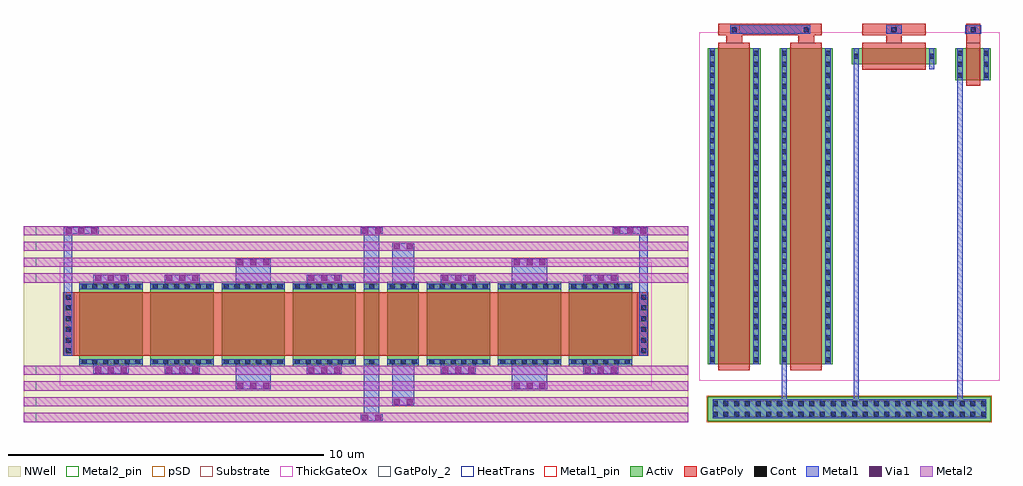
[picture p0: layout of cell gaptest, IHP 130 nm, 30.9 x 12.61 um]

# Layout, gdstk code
from math import pi, radians
import gdstk
lib = gdstk.Library(unit=1e-6, precision=1e-09)
def R(c, l, rs):  # rectangles x0, y0, x1, y1
    for r in rs: c.add(gdstk.rectangle(r[:2], r[2:], *l))
def A(c, l, x, y, w, h, nx, ny, dx, dy):  # array of equal rectangles
    R(c, l, [(x+i*dx, y+j*dy, x+i*dx+w, y+j*dy+h) for i in range(nx) for j in range(ny)])
Activ = (1, 0)
GatPoly = (5, 0)
GatPoly_2 = (5, 2)
Cont = (6, 0)
Metal1 = (8, 0)
Metal1_pin = (8, 2)
Metal2 = (10, 0)
Metal2_pin = (10, 2)
pSD = (14, 0)
Via1 = (19, 0)
NWell = (31, 0)
Substrate = (40, 0)
ThickGateOx = (44, 0)
HeatTrans = (51, 0)

pmoshv_10 = lib.new_cell('pmosHV$10')
R(pmoshv_10, Activ, [(0,0,0.3,0.3), (0,0,2.68,2), (2.38,0,2.68,0.3)])
R(pmoshv_10, GatPoly, [(0.34,-0.18,2.34,2.18)])
R(pmoshv_10, GatPoly_2, [(0.34,-0.18,2.34,2.18)])
A(pmoshv_10, Cont, 0.07, 0.07, 0.16, 0.16, 1, 6, 0, 0.34)
A(pmoshv_10, Cont, 2.45, 0.07, 0.16, 0.16, 1, 6, 0, 0.34)
R(pmoshv_10, Metal1, [(0.07,0,0.23,2), (2.45,0,2.61,2)])
R(pmoshv_10, Metal1_pin, [(0.07,0,0.23,2), (2.45,0,2.61,2)])
R(pmoshv_10, pSD, [(-0.18,-0.4,2.86,2.4)])
R(pmoshv_10, NWell, [(-0.62,-0.62,3.3,2.62)])
R(pmoshv_10, ThickGateOx, [(-0.62,-0.62,3.3,2.62)])
R(pmoshv_10, HeatTrans, [(0.34,-0.18,2.34,2.18)])
pmoshv_10.add(gdstk.Label('pmosHV', (1.34,1), layer=63, texttype=0))
pmoshv_10.add(gdstk.Label('pmos', (1.34,1), layer=51, texttype=0))

pmoshv_11 = lib.new_cell('pmosHV$11')
R(pmoshv_11, Activ, [(0,0,0.3,0.3), (0,0,2.68,0.5), (2.38,0,2.68,0.3)])
R(pmoshv_11, GatPoly, [(0.34,-0.18,2.34,0.68)])
R(pmoshv_11, GatPoly_2, [(0.34,-0.18,2.34,0.68)])
R(pmoshv_11, Cont, [(0.07,0.17,0.23,0.33), (2.45,0.17,2.61,0.33)])
R(pmoshv_11, Metal1, [(0.07,0,0.23,0.5), (2.45,0,2.61,0.5)])
R(pmoshv_11, Metal1_pin, [(0.07,0,0.23,0.5), (2.45,0,2.61,0.5)])
R(pmoshv_11, pSD, [(-0.18,-0.4,2.86,0.9)])
R(pmoshv_11, NWell, [(-0.62,-0.62,3.3,1.12)])
R(pmoshv_11, ThickGateOx, [(-0.62,-0.62,3.3,1.12)])
R(pmoshv_11, HeatTrans, [(0.34,-0.18,2.34,0.68)])
pmoshv_11.add(gdstk.Label('pmosHV', (1.34,0.25), layer=63, texttype=0))
pmoshv_11.add(gdstk.Label('pmos', (1.34,0.25), layer=51, texttype=0))

pmoshv_12 = lib.new_cell('pmosHV$12')
R(pmoshv_12, Activ, [(0,0,0.3,0.3), (0,0,2.68,1), (2.38,0,2.68,0.3)])
R(pmoshv_12, GatPoly, [(0.34,-0.18,2.34,1.18)])
R(pmoshv_12, GatPoly_2, [(0.34,-0.18,2.34,1.18)])
A(pmoshv_12, Cont, 0.07, 0.07, 0.16, 0.16, 1, 3, 0, 0.35)
A(pmoshv_12, Cont, 2.45, 0.07, 0.16, 0.16, 1, 3, 0, 0.35)
R(pmoshv_12, Metal1, [(0.07,0,0.23,1), (2.45,0,2.61,1)])
R(pmoshv_12, Metal1_pin, [(0.07,0,0.23,1), (2.45,0,2.61,1)])
R(pmoshv_12, pSD, [(-0.18,-0.4,2.86,1.4)])
R(pmoshv_12, NWell, [(-0.62,-0.62,3.3,1.62)])
R(pmoshv_12, ThickGateOx, [(-0.62,-0.62,3.3,1.62)])
R(pmoshv_12, HeatTrans, [(0.34,-0.18,2.34,1.18)])
pmoshv_12.add(gdstk.Label('pmosHV', (1.34,0.5), layer=63, texttype=0))
pmoshv_12.add(gdstk.Label('pmos', (1.34,0.5), layer=51, texttype=0))

oa_pcas_c = lib.new_cell('oa_pcas_c')
R(oa_pcas_c, GatPoly, [(-0.51,0.34,-0.1,2.34), (17.6,0.34,18.01,2.34)])
A(oa_pcas_c, Cont, -0.44, 0.41, 0.16, 0.16, 1, 6, 0, 0.34)
A(oa_pcas_c, Cont, 17.78, 0.41, 0.16, 0.16, 1, 6, 0, 0.34)
R(oa_pcas_c, Metal1, [(8.9,-1.725,9.6,-1.515), (9,-1.725,9.5,0.23), (9.9,-1.225,10.6,0.23), (4.945,-0.725,6.055,0.23), (13.695,-0.725,14.805,0.23), (0.445,-0.225,1.555,0.23), (2.695,-0.225,3.805,0.23), (7.195,-0.225,8.305,0.23), (11.445,-0.225,12.555,0.23), (15.945,-0.225,17.055,0.23), (-0.49,0.34,-0.23,4.405), (17.73,0.34,17.99,4.405), (0.445,2.45,1.555,2.905), (2.695,2.45,3.805,2.905), (4.945,2.45,6.055,3.405), (7.195,2.45,8.305,2.905), (9,2.45,9.5,4.405), (9.9,2.45,10.6,3.905), (11.445,2.45,12.555,2.905), (13.695,2.45,14.805,3.405), (15.945,2.45,17.055,2.905), (-0.49,4.195,0.62,4.405), (8.9,4.195,9.6,4.405), (16.88,4.195,17.99,4.405)])
R(oa_pcas_c, Metal1_pin, [(-0.49,0.34,-0.23,2.34), (17.73,0.34,17.99,2.34)])
A(oa_pcas_c, Metal2_pin, -1.77, -1.765, 0.4, 0.29, 1, 4, 0, 0.5)
A(oa_pcas_c, Metal2_pin, -1.77, 2.655, 0.4, 0.29, 1, 4, 0, 0.5)
R(oa_pcas_c, pSD, [(-0.62,-0.62,18.12,3.3)])
A(oa_pcas_c, Via1, 4.995, -0.715, 0.19, 0.19, 3, 2, 0.41, 3.92)
A(oa_pcas_c, Via1, 13.745, -0.715, 0.19, 0.19, 3, 2, 0.41, 3.92)
A(oa_pcas_c, Via1, 0.495, -0.215, 0.19, 0.19, 3, 2, 0.41, 2.92)
A(oa_pcas_c, Via1, 2.745, -0.215, 0.19, 0.19, 3, 2, 0.41, 2.92)
A(oa_pcas_c, Via1, 7.245, -0.215, 0.19, 0.19, 3, 2, 0.41, 2.92)
A(oa_pcas_c, Via1, 11.495, -0.215, 0.19, 0.19, 3, 2, 0.41, 2.92)
A(oa_pcas_c, Via1, 15.995, -0.215, 0.19, 0.19, 3, 2, 0.41, 2.92)
A(oa_pcas_c, Via1, -0.44, 4.205, 0.19, 0.19, 3, 1, 0.41, 0)
A(oa_pcas_c, Via1, 16.93, 4.205, 0.19, 0.19, 3, 1, 0.41, 0)
R(oa_pcas_c, Via1, [(8.95,-1.715,9.14,-1.525), (9.36,-1.715,9.55,-1.525), (9.95,-1.215,10.14,-1.025), (10.36,-1.215,10.55,-1.025), (9.95,3.705,10.14,3.895), (10.36,3.705,10.55,3.895), (8.95,4.205,9.14,4.395), (9.36,4.205,9.55,4.395)])
R(oa_pcas_c, NWell, [(-1.77,-1.765,19.27,4.445)])
R(oa_pcas_c, ThickGateOx, [(-0.62,-0.62,18.12,3.3)])
oa_pcas_c.add(gdstk.FlexPath([(-1.625,-0.12),(19.125,-0.12)], 0.29, ends="extended", simple_path=True, layer=10, datatype=0))  # Metal2
oa_pcas_c.add(gdstk.FlexPath([(-1.625,-0.62),(19.125,-0.62)], 0.29, ends="extended", simple_path=True, layer=10, datatype=0))  # Metal2
oa_pcas_c.add(gdstk.FlexPath([(-1.625,-1.12),(19.125,-1.12)], 0.29, ends="extended", simple_path=True, layer=10, datatype=0))  # Metal2
oa_pcas_c.add(gdstk.FlexPath([(-1.625,-1.62),(19.125,-1.62)], 0.29, ends="extended", simple_path=True, layer=10, datatype=0))  # Metal2
oa_pcas_c.add(gdstk.FlexPath([(-1.625,2.8),(19.125,2.8)], 0.29, ends="extended", simple_path=True, layer=10, datatype=0))  # Metal2
oa_pcas_c.add(gdstk.FlexPath([(-1.625,3.3),(19.125,3.3)], 0.29, ends="extended", simple_path=True, layer=10, datatype=0))  # Metal2
oa_pcas_c.add(gdstk.FlexPath([(-1.625,3.8),(19.125,3.8)], 0.29, ends="extended", simple_path=True, layer=10, datatype=0))  # Metal2
oa_pcas_c.add(gdstk.FlexPath([(-1.625,4.3),(19.125,4.3)], 0.29, ends="extended", simple_path=True, layer=10, datatype=0))  # Metal2
oa_pcas_c.add(gdstk.Reference(pmoshv_10, (0,2.68), rotation=3*pi/2))
oa_pcas_c.add(gdstk.Reference(pmoshv_10, (2.25,2.68), rotation=3*pi/2))
oa_pcas_c.add(gdstk.Reference(pmoshv_10, (4.5,2.68), rotation=3*pi/2))
oa_pcas_c.add(gdstk.Reference(pmoshv_10, (6.75,2.68), rotation=3*pi/2))
oa_pcas_c.add(gdstk.Reference(pmoshv_11, (9,2.68), rotation=3*pi/2))
oa_pcas_c.add(gdstk.Reference(pmoshv_12, (9.75,2.68), rotation=3*pi/2))
oa_pcas_c.add(gdstk.Reference(pmoshv_10, (11,2.68), rotation=3*pi/2))
oa_pcas_c.add(gdstk.Reference(pmoshv_10, (13.25,2.68), rotation=3*pi/2))
oa_pcas_c.add(gdstk.Reference(pmoshv_10, (15.5,2.68), rotation=3*pi/2))
oa_pcas_c.add(gdstk.Label('POC', (1,1.34), layer=63, texttype=0))
oa_pcas_c.add(gdstk.Label('POC', (3.25,1.34), layer=63, texttype=0))
oa_pcas_c.add(gdstk.Label('P8C', (5.5,1.34), layer=63, texttype=0))
oa_pcas_c.add(gdstk.Label('POC', (7.75,1.34), layer=63, texttype=0))
oa_pcas_c.add(gdstk.Label('P0C', (9.25,1.34), layer=63, texttype=0))
oa_pcas_c.add(gdstk.Label('P2C', (10.25,1.34), layer=63, texttype=0))
oa_pcas_c.add(gdstk.Label('POC', (12,1.34), layer=63, texttype=0))
oa_pcas_c.add(gdstk.Label('P8C', (14.25,1.34), layer=63, texttype=0))
oa_pcas_c.add(gdstk.Label('POC', (16.5,1.34), layer=63, texttype=0))
oa_pcas_c.add(gdstk.Label('vpc', (-0.36,1.34), layer=8, texttype=25))
oa_pcas_c.add(gdstk.Label('co', (-1.57,-0.12), layer=10, texttype=25))
oa_pcas_c.add(gdstk.Label('c8', (-1.57,-0.62), layer=10, texttype=25))
oa_pcas_c.add(gdstk.Label('c2', (-1.57,-1.12), layer=10, texttype=25))
oa_pcas_c.add(gdstk.Label('vpg', (-1.57,-1.62), layer=10, texttype=25))
oa_pcas_c.add(gdstk.Label('iout', (-1.57,2.8), layer=10, texttype=25))
oa_pcas_c.add(gdstk.Label('vnc', (-1.57,3.3), layer=10, texttype=25))
oa_pcas_c.add(gdstk.Label('vbr', (-1.57,3.8), layer=10, texttype=25))
oa_pcas_c.add(gdstk.Label('vpc', (-1.57,4.3), layer=10, texttype=25))

nmoshv_7 = lib.new_cell('nmosHV$7')
R(nmoshv_7, Activ, [(0,0,0.3,0.3), (0,0,1.68,10), (1.38,0,1.68,0.3)])
R(nmoshv_7, GatPoly, [(0.34,-0.18,1.34,10.18)])
R(nmoshv_7, GatPoly_2, [(0.34,-0.18,1.34,10.18)])
A(nmoshv_7, Cont, 0.07, 0.07, 0.16, 0.16, 1, 4, 0, 0.345)
A(nmoshv_7, Cont, 1.45, 0.07, 0.16, 0.16, 1, 4, 0, 0.345)
A(nmoshv_7, Cont, 0.07, 1.455, 0.16, 0.16, 1, 3, 0, 0.345)
A(nmoshv_7, Cont, 1.45, 1.455, 0.16, 0.16, 1, 3, 0, 0.345)
A(nmoshv_7, Cont, 0.07, 2.495, 0.16, 0.16, 1, 4, 0, 0.345)
A(nmoshv_7, Cont, 1.45, 2.495, 0.16, 0.16, 1, 4, 0, 0.345)
A(nmoshv_7, Cont, 0.07, 3.88, 0.16, 0.16, 1, 3, 0, 0.345)
A(nmoshv_7, Cont, 1.45, 3.88, 0.16, 0.16, 1, 3, 0, 0.345)
A(nmoshv_7, Cont, 0.07, 4.92, 0.16, 0.16, 1, 4, 0, 0.345)
A(nmoshv_7, Cont, 1.45, 4.92, 0.16, 0.16, 1, 4, 0, 0.345)
A(nmoshv_7, Cont, 0.07, 6.305, 0.16, 0.16, 1, 3, 0, 0.345)
A(nmoshv_7, Cont, 1.45, 6.305, 0.16, 0.16, 1, 3, 0, 0.345)
A(nmoshv_7, Cont, 0.07, 7.345, 0.16, 0.16, 1, 4, 0, 0.345)
A(nmoshv_7, Cont, 1.45, 7.345, 0.16, 0.16, 1, 4, 0, 0.345)
A(nmoshv_7, Cont, 0.07, 8.73, 0.16, 0.16, 1, 3, 0, 0.345)
A(nmoshv_7, Cont, 1.45, 8.73, 0.16, 0.16, 1, 3, 0, 0.345)
R(nmoshv_7, Cont, [(0.07,9.77,0.23,9.93), (1.45,9.77,1.61,9.93)])
R(nmoshv_7, Metal1, [(0.07,0,0.23,10), (1.45,0,1.61,10)])
R(nmoshv_7, Metal1_pin, [(0.07,0,0.23,10), (1.45,0,1.61,10)])
R(nmoshv_7, ThickGateOx, [(-0.27,-0.52,1.95,10.52)])
R(nmoshv_7, HeatTrans, [(0.34,-0.18,1.34,10.18)])
nmoshv_7.add(gdstk.Label('nmosHV', (0.84,5), layer=63, texttype=0))
nmoshv_7.add(gdstk.Label('nmosHV', (0.84,5), layer=51, texttype=0))

nmoshv_9 = lib.new_cell('nmosHV$9')
R(nmoshv_9, Activ, [(0,0,0.3,0.3), (0,0,2.68,0.5), (2.38,0,2.68,0.3)])
R(nmoshv_9, GatPoly, [(0.34,-0.18,2.34,0.68)])
R(nmoshv_9, GatPoly_2, [(0.34,-0.18,2.34,0.68)])
R(nmoshv_9, Cont, [(0.07,0.17,0.23,0.33), (2.45,0.17,2.61,0.33)])
R(nmoshv_9, Metal1, [(0.07,0,0.23,0.5), (2.45,0,2.61,0.5)])
R(nmoshv_9, Metal1_pin, [(0.07,0,0.23,0.5), (2.45,0,2.61,0.5)])
R(nmoshv_9, ThickGateOx, [(-0.27,-0.52,2.95,1.02)])
R(nmoshv_9, HeatTrans, [(0.34,-0.18,2.34,0.68)])
nmoshv_9.add(gdstk.Label('nmosHV', (1.34,0.25), layer=63, texttype=0))
nmoshv_9.add(gdstk.Label('nmosHV', (1.34,0.25), layer=51, texttype=0))

nmoshv_5 = lib.new_cell('nmosHV$5')
R(nmoshv_5, Activ, [(0,0,0.3,0.3), (0,0,1.13,1), (0.83,0,1.13,0.3)])
R(nmoshv_5, GatPoly, [(0.34,-0.18,0.79,1.18)])
R(nmoshv_5, GatPoly_2, [(0.34,-0.18,0.79,1.18)])
A(nmoshv_5, Cont, 0.07, 0.07, 0.16, 0.16, 1, 3, 0, 0.35)
A(nmoshv_5, Cont, 0.9, 0.07, 0.16, 0.16, 1, 3, 0, 0.35)
R(nmoshv_5, Metal1, [(0.07,0,0.23,1), (0.9,0,1.06,1)])
R(nmoshv_5, Metal1_pin, [(0.07,0,0.23,1), (0.9,0,1.06,1)])
R(nmoshv_5, ThickGateOx, [(-0.27,-0.52,1.4,1.52)])
R(nmoshv_5, HeatTrans, [(0.34,-0.18,0.79,1.18)])
nmoshv_5.add(gdstk.Label('nmosHV', (0.565,0.5), layer=63, texttype=0))
nmoshv_5.add(gdstk.Label('nmosHV', (0.565,0.5), layer=51, texttype=0))

ptap1_11 = lib.new_cell('ptap1$11')
R(ptap1_11, Activ, [(0,0,8.97,0.78)])
A(ptap1_11, Cont, 0.155, 0.14, 0.16, 0.16, 26, 2, 0.34, 0.34)
R(ptap1_11, Metal1, [(0.155,0.09,8.815,0.69), (0.155,0.14,8.815,0.64)])
R(ptap1_11, Metal1_pin, [(0.155,0.14,8.815,0.64)])
R(ptap1_11, pSD, [(-0.03,-0.03,9,0.81)])
R(ptap1_11, Substrate, [(0,0,8.97,0.78)])
ptap1_11.add(gdstk.Label('sub!', (4.485,0.01), layer=63, texttype=0))
ptap1_11.add(gdstk.Label('sub!', (4.485,0.01), layer=40, texttype=0))

oa_misc_n = lib.new_cell('oa_misc_n')
R(oa_misc_n, GatPoly, [(0.59,10,1.09,10.43), (2.87,10,3.37,10.43), (5.65,10,6.15,10.43), (8.18,10,8.63,10.43), (0.34,10.42,3.62,10.78), (4.9,10.42,6.9,10.78), (8.18,10.42,8.63,10.78)])
R(oa_misc_n, Cont, [(0.76,10.52,0.92,10.68), (3.04,10.52,3.2,10.68), (5.82,10.52,5.98,10.68), (8.325,10.52,8.485,10.68)])
R(oa_misc_n, Metal1, [(2.35,-1.71,8.07,-1.11), (2.35,-1.21,2.51,0.05), (4.63,-1.21,4.79,9.55), (7.91,-1.21,8.07,9.05), (4.63,9.35,4.79,10), (7.01,9.35,7.17,10), (0.71,10.47,3.25,10.73), (5.65,10.47,6.15,10.73), (8.155,10.47,8.655,10.73)])
R(oa_misc_n, Metal1_pin, [(0.155,-1.71,0.555,-1.11), (0.07,4.75,0.23,5.25), (1.45,4.75,1.61,5.25), (3.73,4.75,3.89,5.25), (8.74,9.25,8.9,9.75), (7.01,9.5,7.17,10), (0.71,10.47,1.01,10.73), (5.65,10.47,5.95,10.73), (8.155,10.47,8.455,10.73)])
R(oa_misc_n, ThickGateOx, [(-0.27,-0.52,9.24,10.52)])
oa_misc_n.add(gdstk.Reference(nmoshv_7, (0,0)))
oa_misc_n.add(gdstk.Reference(nmoshv_7, (2.28,0)))
oa_misc_n.add(gdstk.Reference(nmoshv_9, (4.56,9.5)))
oa_misc_n.add(gdstk.Reference(nmoshv_5, (7.84,9)))
oa_misc_n.add(gdstk.Reference(ptap1_11, (0,-1.8)))
oa_misc_n.add(gdstk.Label('MC10', (0,5), layer=63, texttype=0))
oa_misc_n.add(gdstk.Label('MS2', (2.28,5), layer=63, texttype=0))
oa_misc_n.add(gdstk.Label('MS3', (4.56,9.75), layer=63, texttype=0))
oa_misc_n.add(gdstk.Label('SKS', (7.84,9.5), layer=63, texttype=0))
oa_misc_n.add(gdstk.Label('vbr', (0.86,10.6), layer=8, texttype=25))
oa_misc_n.add(gdstk.Label('ks', (5.8,10.6), layer=8, texttype=25))
oa_misc_n.add(gdstk.Label('en_3v3_b', (8.305,10.6), layer=8, texttype=25))
oa_misc_n.add(gdstk.Label('vss', (0.355,-1.41), layer=8, texttype=25))
oa_misc_n.add(gdstk.Label('d10', (0.15,5), layer=8, texttype=25))
oa_misc_n.add(gdstk.Label('vpc', (1.53,5), layer=8, texttype=25))
oa_misc_n.add(gdstk.Label('ks', (3.81,5), layer=8, texttype=25))
oa_misc_n.add(gdstk.Label('vpc', (7.09,9.75), layer=8, texttype=25))
oa_misc_n.add(gdstk.Label('ks', (8.82,9.5), layer=8, texttype=25))

gaptest = lib.new_cell('gaptest')
gaptest.add(gdstk.Reference(oa_pcas_c, (1.77,1.765)))
gaptest.add(gdstk.Reference(oa_misc_n, (21.66,1.83)))

lib.write_gds('gaptest.gds')
